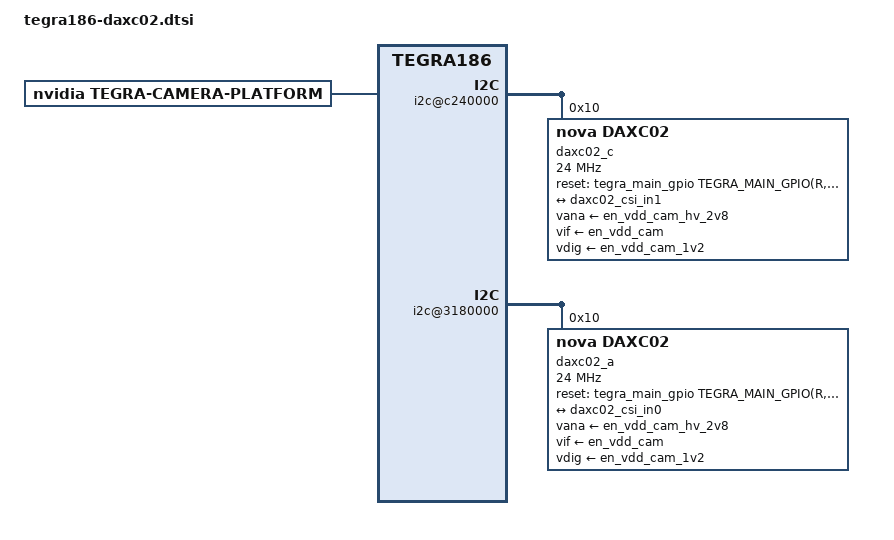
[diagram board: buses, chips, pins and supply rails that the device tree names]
/*
 * This program is free software; you can redistribute it and/or modify
 * it under the terms of the GNU General Public License as published by
 * the Free Software Foundation; either version 2 of the License, or
 * (at your option) any later version.
 *
 * This program is distributed in the hope that it will be useful, but WITHOUT
 * ANY WARRANTY; without even the implied warranty of MERCHANTABILITY or
 * FITNESS FOR A PARTICULAR PURPOSE.  See the GNU General Public License for
 * more details.
 *
 * You should have received a copy of the GNU General Public License
 * along with this program.  If not, see <http://www.gnu.org/licenses/>.
 */

/*
I2C Busses:

i2c0 = "/i2c@3160000";
i2c1 = "/i2c@c240000";
i2c2 = "/i2c@3180000";
i2c3 = "/i2c@3190000";
i2c4 = "/i2c@31a0000";
i2c5 = "/i2c@31b0000";
i2c6 = "/i2c@31c0000";
i2c7 = "/i2c@c250000";
i2c8 = "/i2c@31e0000";
*/

/ {
    i2c@c240000 {
        status = "okay";
        #address-cells = <1>;
        #size-cells = <0>;

        daxc02_c@10 {
            compatible = "nova,daxc02";

            /* slave or master mode */
            trigger_mode = "master";

            /* I2C device address */
            reg = <0x10>;

            /* Device */
            devnode = "video1";

            /* Physical dimensions of sensor */
            physical_w = "4.8";
            physical_h = "3.6";

            /* Sensor Model */
            sensor_model ="mt9m021";

            /* Define any required hw resources needed by driver */
            vana-supply = <&en_vdd_cam_hv_2v8>;     // analog 2.8v
            vif-supply = <&en_vdd_cam>;             // interface 1.8v
            vdig-supply = <&en_vdd_cam_1v2>;        // digital 1.2v

            reset-gpios = <&tegra_main_gpio TEGRA_MAIN_GPIO(R, 1) GPIO_ACTIVE_HIGH>;

            clocks = <&tegra_car TEGRA186_CLK_EXTPERIPH1>;
            clock-names = "cam_mclk1";
            clock-frequency = <24000000>;
            mclk = "cam_mclk1";

            avdd-reg = "vana";
            iovdd-reg = "vif";
            dvdd-reg = "vdig";

            mode0 {
                mclk_khz = "24000";
                num_lanes = "1";
                tegra_sinterface = "serial_c";
                discontinuous_clk = "yes";
                dpcm_enable = "false";
                cil_settletime = "0";

                active_w = "1280";
                active_h = "720";
                pixel_t = "bayer_rggb12";
                readout_orientation = "0";
                line_length = "1280";
                inherent_gain = "1";
                mclk_multiplier = "3.094";
                pix_clk_hz = "74250000";

                min_gain_val = "1";
                max_gain_val = "224";
                min_hdr_ratio = "";
                max_hdr_ratio = "";
                min_framerate = "1";
                max_framerate = "60";
                min_exp_time = "34";
                max_exp_time = "550385";
                embedded_metadata_height = "0";
            };
            ports {
                #address-cells = <0x1>;
                #size-cells = <0x0>;

                port@0 {
                    reg = <0x0>;
                    daxc02_out1: endpoint {
                        csi-port = <0x2>;
                        bus-width = <0x1>;
                        remote-endpoint = <&daxc02_csi_in1>;
                    };
                };
            };
        };
    };

    i2c@3180000 {
        status = "okay";
        #address-cells = <1>;
        #size-cells = <0>;

        daxc02_a@10 {
            compatible = "nova,daxc02";

            /* slave or master mode */
            trigger_mode = "master";

            /* I2C device address */
            reg = <0x10>;

            /* Device */
            devnode = "video0";

            /* Physical dimensions of sensor */
            physical_w = "4.8";
            physical_h = "3.6";

            /* Sensor Model */
            sensor_model ="mt9m021";

            /* Define any required hw resources needed by driver */
            /* ie. clocks, io pins, power sources */
            vana-supply = <&en_vdd_cam_hv_2v8>;     // analog 2.8v
            vif-supply = <&en_vdd_cam>;             // interface 1.8v
            vdig-supply = <&en_vdd_cam_1v2>;        // digital 1.2v

            reset-gpios = <&tegra_main_gpio TEGRA_MAIN_GPIO(R, 5) GPIO_ACTIVE_HIGH>;

            clocks = <&tegra_car TEGRA186_CLK_EXTPERIPH1>;
            clock-names = "cam_mclk1";
            clock-frequency = <24000000>;
            mclk = "cam_mclk1";

            avdd-reg = "vana";
            iovdd-reg = "vif";
            dvdd-reg = "vdig";

            mode0 {
                mclk_khz = "24000";
                num_lanes = "1";
                tegra_sinterface = "serial_a";
                discontinuous_clk = "yes";
                dpcm_enable = "false";
                cil_settletime = "0";

                active_w = "1280";
                active_h = "720";
                pixel_t = "bayer_rggb12";
                readout_orientation = "0";
                line_length = "1280";
                inherent_gain = "1";
                mclk_multiplier = "3.094";
                pix_clk_hz = "74250000";

                min_gain_val = "1";
                max_gain_val = "224";
                min_hdr_ratio = "";
                max_hdr_ratio = "";
                min_framerate = "1";
                max_framerate = "60";
                min_exp_time = "34";
                max_exp_time = "550385";
                embedded_metadata_height = "0";
            };
            ports {
                #address-cells = <0x1>;
                #size-cells = <0x0>;

                port@0 {
                    reg = <0x0>;
                    daxc02_out0: endpoint {
                        csi-port = <0x0>;
                        bus-width = <0x1>;
                        remote-endpoint = <&daxc02_csi_in0>;
                    };
                };
            };
        };
    };

    host1x {
        vi@15700000 {
            num-channels = <0x2>;
            ports {
                #address-cells = <0x1>;
                #size-cells = <0x0>;

                port@0 {
                    reg = <0x0>;
                    status = "okay";
                    daxc02_vi_in0: endpoint {
                        status = "okay";
                        csi-port = <0x0>;
                        bus-width = <0x1>;
                        remote-endpoint = <&daxc02_csi_out0>;
                    };
                };
                port@1 {
                    reg = <0x1>;
                    status = "okay";
                    daxc02_vi_in1: endpoint {
                        status = "okay";
                        csi-port = <0x2>;
                        bus-width = <0x1>;
                        remote-endpoint = <&daxc02_csi_out1>;
                    };
                };
            };
        };

        nvcsi@150c0000 {
            num-channels = <2>;
            #address-cells = <1>;
            #size-cells = <0>;

            channel@0 {
                reg = <0>;
                ports {
                    #address-cells = <1>;
                    #size-cells = <0>;
                    port@0 {
                        reg = <0>;
                        daxc02_csi_in0: endpoint@0 {
                            csi-port = <0>;
                            bus-width = <1>;
                            remote-endpoint = <&daxc02_out0>;
                        };
                    };
                    port@1 {
                        reg = <1>;
                        daxc02_csi_out0: endpoint@1 {
                            remote-endpoint = <&daxc02_vi_in0>;
                        };
                    };
                };
            };
            channel@1 {
                reg = <1>;
                ports {
                    #address-cells = <1>;
                    #size-cells = <0>;
                    port@0 {
                        reg = <0>;
                        daxc02_csi_in1: endpoint@2 {
                            csi-port = <2>;
                            bus-width = <1>;
                            remote-endpoint = <&daxc02_out1>;
                        };
                    };
                    port@1 {
                        reg = <1>;
                        daxc02_csi_out1: endpoint@3 {
                            remote-endpoint = <&daxc02_vi_in1>;
                        };
                    };
                };
            };
        };
    };

    tegra-camera-platform {
        compatible = "nvidia, tegra-camera-platform";
        num_csi_lanes = <2>;
        max_lane_speed = <445500000>;
		min_bits_per_pixel = <10>;
		vi_peak_byte_per_pixel = <2>;
		vi_bw_margin_pct = <25>;
		max_pixel_rate = <750000>;
		isp_peak_byte_per_pixel = <2>;
		isp_bw_margin_pct = <25>;

        modules {
            module0 {
                badge = "daxc02_master_mt9m021";
                position = "front";
                orientation = "1";
                status = "okay";
                drivernode0 {
                    pcl_id = "v4l2_sensor";
                    devname = "daxc02 2-0010";
                    proc-device-tree = "/proc/device-tree/i2c@3180000/daxc02_a@10";
                    status = "okay";
                };
            };
            module1 {
                badge = "daxc02_slave_mt9m021";
                position = "rear";
                orientation = "1";
                status = "okay";
                drivernode0 {
                    pcl_id = "v4l2_sensor";
                    devname = "daxc02 1-0010";
                    proc-device-tree = "/proc/device-tree/i2c@c240000/daxc02_c@10";
                    status = "okay";
                };
            };
        };
    };
};
